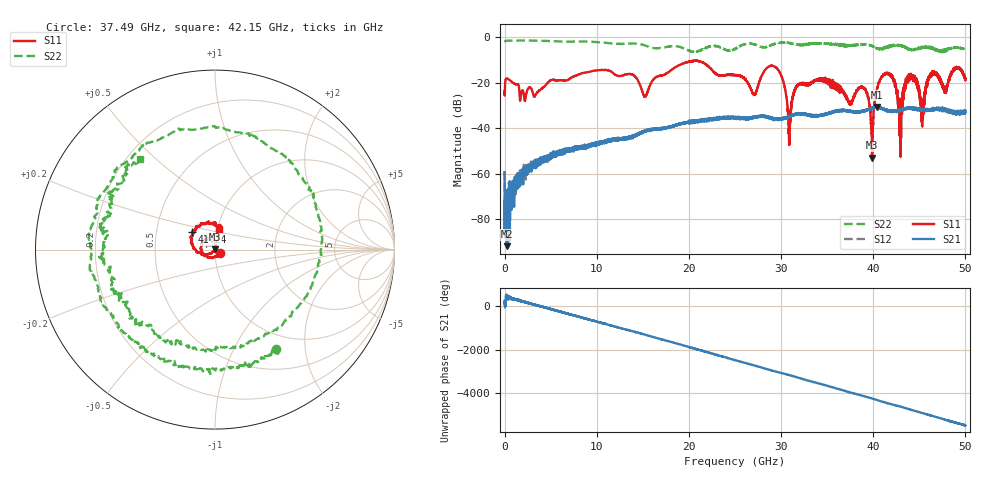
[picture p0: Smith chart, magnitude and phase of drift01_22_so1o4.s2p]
!Created with skrf (http://scikit-rf.org).
# Hz S RI R 50.0
!freq ReS11 ImS11 ReS21 ImS21 ReS12 ImS12 ReS22 ImS22
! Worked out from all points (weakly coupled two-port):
!   10001 points, 300 kHz to 50 GHz, reference 50 ohm
!   highest |S21| = -30.61 dB at 40.43 GHz (marker M1); lowest = -92.0 dB at 230.3 MHz (marker M2)
!   lowest |S11| = -53.0 dB at 39.87 GHz (marker M3), VSWR 1.00, Z = 49.8 + j0.11 ohm
!   |S11| at or under -10 dB: start of sweep to end of sweep
!   |S22| runs from -6.5 to -1.4 dB; largest |S21 - S12| = 0.0034
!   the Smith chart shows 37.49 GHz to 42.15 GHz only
!   S11 on the Smith chart (normalised r, x): 37.49 GHz: 1.05, -0.04; 41.24 GHz: 0.76, +0.15; 42.15 GHz: 1.01, +0.24
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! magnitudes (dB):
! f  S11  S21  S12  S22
! 300 kHz  -23.7  -59.4  -58.8  -2.1
! 230.3 MHz  -18.1  -92.0  -84.2  -1.4
! 2.68 GHz  -22.1  -57.1  -58.2  -1.4
! 8.335 GHz  -15.9  -48.5  -48.1  -1.8
! 16.67 GHz  -17.0  -40.3  -40.5  -4.8
! 25 GHz  -16.6  -35.2  -35.7  -5.1
! 27.1 GHz  -25.4  -35.2  -35.1  -3.2
! 29.43 GHz  -13.2  -36.0  -35.9  -2.8
! 30.91 GHz  -45.5  -34.9  -34.7  -2.5
! 33.34 GHz  -19.8  -34.6  -34.4  -2.6
! 37.49 GHz  -29.8  -32.7  -32.6  -3.7
! 38.95 GHz  -22.2  -32.4  -32.4  -3.1
! 39.87 GHz  -53.0  -31.4  -31.2  -3.8
! 40.43 GHz  -22.2  -30.6  -30.9  -4.8
! 41.24 GHz  -15.9  -32.0  -31.8  -4.6
! 41.67 GHz  -16.2  -32.3  -32.3  -4.2
! 42.15 GHz  -18.5  -32.5  -32.6  -3.7
! 42.92 GHz  -35.6  -32.2  -32.1  -3.6
! 43.97 GHz  -17.3  -31.0  -31.1  -5.3
! 45.31 GHz  -39.3  -32.1  -31.9  -4.4
! 46.42 GHz  -15.7  -32.0  -31.5  -4.8
! 50 GHz  -18.1  -32.2  -33.2  -5.4
